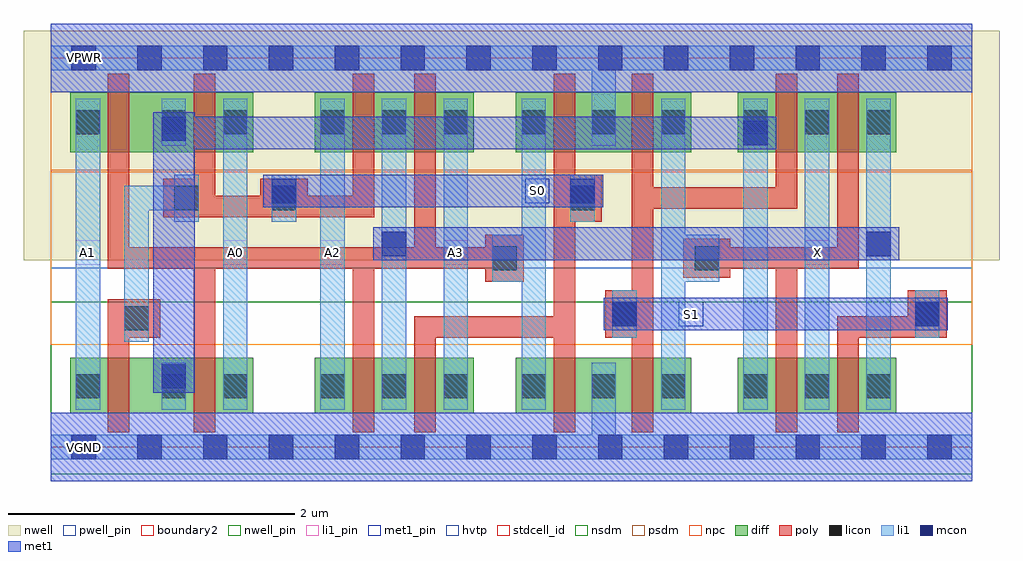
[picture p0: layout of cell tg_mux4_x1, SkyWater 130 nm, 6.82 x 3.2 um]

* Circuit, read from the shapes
.subckt tg_mux4_x1 A0 A1 A2 A3 S0 S1 VGND VNB VPB VPWR X
XM1 n1 S0 A1 VNB sky130_fd_pr__nfet_01v8 w=0.39 l=0.15
XM2 A0 n2 n1 VNB sky130_fd_pr__nfet_01v8 w=0.39 l=0.15
XM3 n3 n2 A2 VNB sky130_fd_pr__nfet_01v8 w=0.39 l=0.15
XM4 A3 S0 n3 VNB sky130_fd_pr__nfet_01v8 w=0.39 l=0.15
XM5 VGND S0 n2 VNB sky130_fd_pr__nfet_01v8 w=0.39 l=0.15
XM6 n4 S1 VGND VNB sky130_fd_pr__nfet_01v8 w=0.39 l=0.15
XM7 X n4 n1 VNB sky130_fd_pr__nfet_01v8 w=0.39 l=0.15
XM8 n3 S1 X VNB sky130_fd_pr__nfet_01v8 w=0.39 l=0.15
XM9 n1 n2 A1 VPB sky130_fd_pr__pfet_01v8_hvt w=0.42 l=0.15
XM10 A0 S0 n1 VPB sky130_fd_pr__pfet_01v8_hvt w=0.42 l=0.15
XM11 n3 S0 A2 VPB sky130_fd_pr__pfet_01v8_hvt w=0.42 l=0.15
XM12 A3 n2 n3 VPB sky130_fd_pr__pfet_01v8_hvt w=0.42 l=0.15
XM13 VPWR S0 n2 VPB sky130_fd_pr__pfet_01v8_hvt w=0.42 l=0.15
XM14 n4 S1 VPWR VPB sky130_fd_pr__pfet_01v8_hvt w=0.42 l=0.15
XM15 X S1 n1 VPB sky130_fd_pr__pfet_01v8_hvt w=0.42 l=0.15
XM16 n3 n4 X VPB sky130_fd_pr__pfet_01v8_hvt w=0.42 l=0.15
.ends

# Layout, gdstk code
import gdstk
lib = gdstk.Library(unit=1e-6, precision=1e-09)
def R(c, l, rs):  # rectangles x0, y0, x1, y1
    for r in rs: c.add(gdstk.rectangle(r[:2], r[2:], *l))
def A(c, l, x, y, w, h, nx, ny, dx, dy):  # array of equal rectangles
    R(c, l, [(x+i*dx, y+j*dy, x+i*dx+w, y+j*dy+h) for i in range(nx) for j in range(ny)])
def P(c, l, *ps):  # polygons
    for p in ps: c.add(gdstk.Polygon(p, *l))
nwell_pin = (64, 16)
nwell = (64, 20)
diff = (65, 20)
poly = (66, 20)
licon = (66, 44)
li1_pin = (67, 16)
li1 = (67, 20)
mcon = (67, 44)
met1_pin = (68, 16)
met1 = (68, 20)
hvtp = (78, 44)
stdcell_id = (81, 4)
nsdm = (93, 44)
psdm = (94, 20)
npc = (95, 20)
pwell_pin = (122, 16)
boundary2 = (236, 0)

tg_mux4_x1 = lib.new_cell('tg_mux4_x1')
R(tg_mux4_x1, nwell_pin, [(0.15,2.635,0.32,2.805)])
R(tg_mux4_x1, nwell, [(-0.19,1.305,6.63,2.91)])
R(tg_mux4_x1, diff, [(0.135,0.235,1.415,0.625), (1.845,0.235,2.955,0.625), (3.25,0.235,4.475,0.625), (4.8,0.235,5.91,0.625), (0.135,2.06,1.415,2.48), (1.845,2.06,2.955,2.48), (3.25,2.06,4.475,2.48), (4.8,2.06,5.91,2.48)])
P(tg_mux4_x1, poly, [(5.065,0.105),(5.065,1.245),(4.75,1.245),(4.75,1.185),(4.42,1.185),(4.42,1.455),(4.75,1.455),(4.75,1.395),(5.495,1.395),(5.495,2.61),(5.645,2.61),(5.645,1.245),(5.215,1.245),(5.215,0.105)],
  [(4.06,0.105),(4.06,0.765),(3.875,0.765),(3.875,1.095),(4.06,1.095),(4.06,2.61),(4.21,2.61),(4.21,1.815),(5.065,1.815),(5.065,2.61),(5.215,2.61),(5.215,1.665),(4.21,1.665),(4.21,0.105)],
  [(2.54,0.105),(2.54,0.915),(3.515,0.915),(3.515,2.61),(3.665,2.61),(3.665,1.905),(3.85,1.905),(3.85,1.575),(3.665,1.575),(3.665,0.105),(3.515,0.105),(3.515,0.765),(2.69,0.765),(2.69,0.105)],
  [(0.785,1.605),(0.785,1.875),(1,1.875),(1,2.61),(1.15,2.61),(1.15,1.755),(1.465,1.755),(1.465,1.875),(1.795,1.875),(1.795,1.755),(2.11,1.755),(2.11,2.61),(2.26,2.61),(2.26,1.605)],
  [(1,0.105),(1,1.245),(0.4,1.245),(0.4,2.61),(0.55,2.61),(0.55,1.395),(2.54,1.395),(2.54,2.61),(2.69,2.61),(2.69,1.395),(3.035,1.395),(3.035,1.485),(3.305,1.485),(3.305,1.155),(3.035,1.155),(3.035,1.245),(2.26,1.245),(2.26,0.105),(2.11,0.105),(2.11,1.245),(1.15,1.245),(1.15,0.105)],
  [(5.495,0.105),(5.495,0.915),(5.99,0.915),(5.99,1.095),(6.26,1.095),(6.26,0.765),(5.645,0.765),(5.645,0.105)],
  [(0.4,0.105),(0.4,1.035),(0.765,1.035),(0.765,0.765),(0.55,0.765),(0.55,0.105)])
A(tg_mux4_x1, licon, 1.885, 0.34, 0.17, 0.17, 3, 2, 0.43, 1.845)
A(tg_mux4_x1, licon, 4.84, 0.34, 0.17, 0.17, 3, 2, 0.43, 1.845)
R(tg_mux4_x1, licon, [(0.175,0.34,0.345,0.51), (0.775,0.34,0.945,0.51), (1.205,0.34,1.375,0.51), (3.29,0.34,3.46,0.51), (3.78,0.34,3.95,0.51), (4.265,0.34,4.435,0.51), (0.515,0.815,0.685,0.985), (3.925,0.845,4.095,1.015), (6.04,0.845,6.21,1.015), (3.085,1.235,3.255,1.405), (4.5,1.235,4.67,1.405), (0.865,1.655,1.035,1.825), (1.545,1.655,1.715,1.825), (3.63,1.655,3.8,1.825), (0.175,2.185,0.345,2.355), (0.775,2.185,0.945,2.355), (1.205,2.185,1.375,2.355), (3.29,2.185,3.46,2.355), (3.78,2.185,3.95,2.355), (4.265,2.185,4.435,2.355)])
R(tg_mux4_x1, li1_pin, [(0.175,1.275,0.345,1.445), (1.205,1.275,1.375,1.445), (1.885,1.275,2.055,1.445), (2.745,1.275,2.915,1.445), (5.27,1.275,5.44,1.445)])
A(tg_mux4_x1, li1, 1.885, 0.26, 0.17, 2.175, 3, 1, 0.43, 0)
A(tg_mux4_x1, li1, 4.84, 0.26, 0.17, 2.175, 3, 1, 0.43, 0)
R(tg_mux4_x1, li1, [(0.175,0.26,0.345,2.435), (0.775,0.26,0.945,0.59), (1.205,0.26,1.375,2.435), (3.925,0.765,4.095,1.095), (6.04,0.765,6.21,1.095), (1.545,1.575,1.715,1.905), (3.63,1.575,3.8,1.905), (0.775,2.105,0.945,2.435)])
P(tg_mux4_x1, li1, [(4.265,0.26),(4.265,2.435),(4.435,2.435),(4.435,1.485),(4.67,1.485),(4.67,1.155),(4.435,1.155),(4.435,0.26)],
  [(3.29,0.26),(3.29,1.155),(3.085,1.155),(3.085,1.485),(3.29,1.485),(3.29,2.435),(3.46,2.435),(3.46,0.26)],
  [(0.515,0.735),(0.515,1.825),(0.865,1.825),(0.865,1.905),(1.035,1.905),(1.035,1.575),(0.865,1.575),(0.865,1.655),(0.685,1.655),(0.685,0.735)],
  [(3.78,2.105),(3.78,2.635),(0,2.635),(0,2.805),(6.44,2.805),(6.44,2.635),(3.95,2.635),(3.95,2.105)],
  [(0,-0.085),(0,0.085),(3.78,0.085),(3.78,0.59),(3.95,0.59),(3.95,0.085),(6.44,0.085),(6.44,-0.085)])
A(tg_mux4_x1, mcon, 0.145, -0.085, 0.17, 0.17, 14, 2, 0.46, 2.72)
R(tg_mux4_x1, mcon, [(0.775,0.41,0.945,0.58), (3.925,0.845,4.095,1.015), (6.04,0.845,6.21,1.015), (2.315,1.335,2.485,1.505), (5.7,1.335,5.87,1.505), (1.545,1.705,1.715,1.875), (3.63,1.705,3.8,1.875), (4.84,2.11,5.01,2.28), (0.775,2.14,0.945,2.31)])
R(tg_mux4_x1, met1_pin, [(0.15,-0.085,0.32,0.085), (4.39,0.845,4.56,1.015), (3.315,1.705,3.485,1.875), (0.15,2.635,0.32,2.805)])
R(tg_mux4_x1, met1, [(0,-0.24,6.44,0.24), (3.865,0.815,6.27,1.045), (2.255,1.305,5.93,1.535), (1.485,1.675,3.86,1.905), (0,2.48,6.44,2.96)])
P(tg_mux4_x1, met1, [(0.715,0.38),(0.715,2.34),(1.005,2.34),(1.005,2.31),(5.07,2.31),(5.07,2.08),(1.005,2.08),(1.005,0.38)])
R(tg_mux4_x1, hvtp, [(0,1.25,6.44,2.72)])
R(tg_mux4_x1, stdcell_id, [(0,0,6.44,2.72)])
R(tg_mux4_x1, nsdm, [(0,-0.19,6.44,1.015)])
R(tg_mux4_x1, psdm, [(0,1.935,6.44,2.91)])
R(tg_mux4_x1, npc, [(0,0.715,6.44,1.925)])
R(tg_mux4_x1, pwell_pin, [(0.15,-0.085,0.32,0.085)])
R(tg_mux4_x1, boundary2, [(0,0,6.44,2.72)])
tg_mux4_x1.add(gdstk.Label('S1', (4.475,0.93), layer=68, texttype=5))
tg_mux4_x1.add(gdstk.Label('VPWR', (0.235,2.72), layer=68, texttype=5))
tg_mux4_x1.add(gdstk.Label('S0', (3.4,1.79), layer=68, texttype=5))
tg_mux4_x1.add(gdstk.Label('VGND', (0.235,0), layer=68, texttype=5))
tg_mux4_x1.add(gdstk.Label('VPB', (0.235,2.72), layer=64, texttype=5))
tg_mux4_x1.add(gdstk.Label('VNB', (0.235,0), layer=64, texttype=59))
tg_mux4_x1.add(gdstk.Label('tg_mux4_x1', (0,0), layer=83, texttype=44))
tg_mux4_x1.add(gdstk.Label('X', (5.355,1.36), layer=67, texttype=5))
tg_mux4_x1.add(gdstk.Label('A3', (2.83,1.36), layer=67, texttype=5))
tg_mux4_x1.add(gdstk.Label('A2', (1.97,1.36), layer=67, texttype=5))
tg_mux4_x1.add(gdstk.Label('A0', (1.29,1.36), layer=67, texttype=5))
tg_mux4_x1.add(gdstk.Label('A1', (0.26,1.36), layer=67, texttype=5))

lib.write_gds('tg_mux4_x1.gds')
